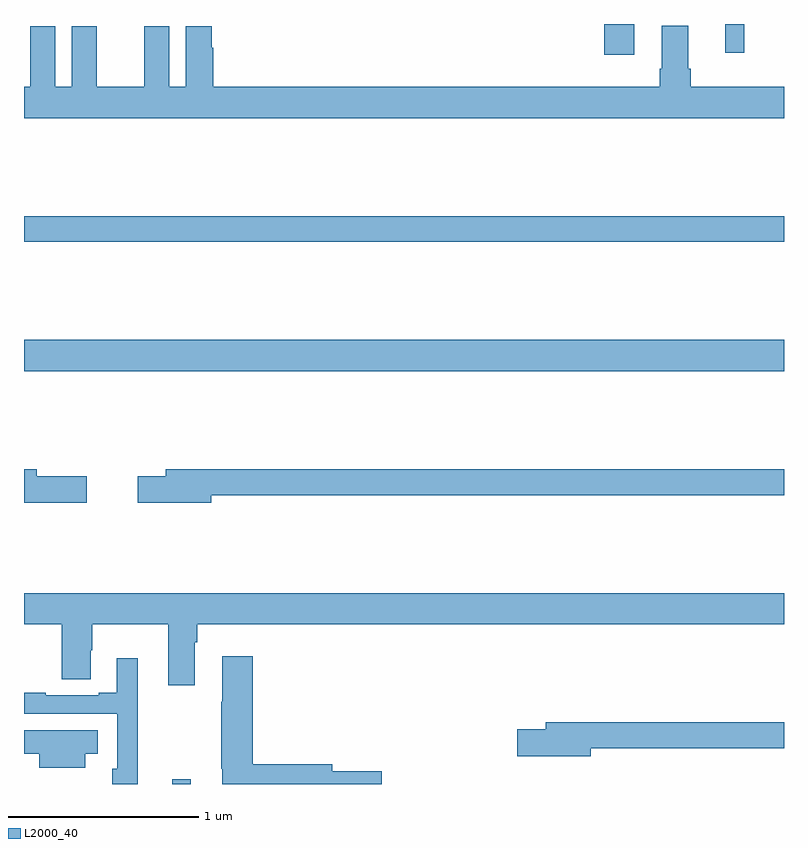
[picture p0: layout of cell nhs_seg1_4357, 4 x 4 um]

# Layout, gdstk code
import gdstk
lib = gdstk.Library(unit=1e-6, precision=1e-09)
def R(c, l, rs):  # rectangles x0, y0, x1, y1
    for r in rs: c.add(gdstk.rectangle(r[:2], r[2:], *l))
def P(c, l, *ps):  # polygons
    for p in ps: c.add(gdstk.Polygon(p, *l))
L2000_40 = (2000, 40)

nhs_seg1_4357 = lib.new_cell('nhs_seg1_4357')
R(nhs_seg1_4357, L2000_40, [(347.781,576.199,347.878,576.223), (347,578.372,351,578.536), (347,579.052,351,579.188), (350.054,580.038,350.212,580.199), (350.69,580.047,350.792,580.199)])
P(nhs_seg1_4357, L2000_40, [(351,579.868),(350.51,579.868),(350.51,579.964),(350.497,579.964),(350.497,580.189),(350.357,580.189),(350.357,579.964),(350.345,579.964),(350.345,579.868),(347.996,579.868),(347.996,580.073),(347.989,580.073),(347.989,580.186),(347.852,580.186),(347.852,579.868),(347.764,579.868),(347.764,580.186),(347.633,580.186),(347.633,579.868),(347.383,579.868),(347.383,580.186),(347.252,580.186),(347.252,579.868),(347.164,579.868),(347.164,580.186),(347.033,580.186),(347.033,579.868),(347,579.868),(347,579.704),(351,579.704)],
  [(347.329,577.82),(347.068,577.82),(347.068,577.856),(347,577.856),(347,577.678),(347.329,577.678)],
  [(347.986,577.72),(351,577.72),(351,577.856),(347.747,577.856),(347.747,577.82),(347.598,577.82),(347.598,577.678),(347.986,577.678)],
  [(347.899,576.944),(347.912,576.944),(347.912,577.04),(351,577.04),(351,577.204),(347,577.204),(347,577.04),(347.198,577.04),(347.198,576.751),(347.35,576.751),(347.35,576.902),(347.358,576.902),(347.358,577.04),(347.759,577.04),(347.759,576.72),(347.899,576.72)],
  [(348.883,576.266),(348.622,576.266),(348.622,576.302),(348.203,576.302),(348.203,576.871),(348.044,576.871),(348.044,576.632),(348.037,576.632),(348.037,576.279),(348.044,576.279),(348.044,576.199),(348.883,576.199)],
  [(347.599,576.862),(347.489,576.862),(347.489,576.679),(347.393,576.679),(347.393,576.666),(347.114,576.666),(347.114,576.679),(347,576.679),(347,576.57),(347.49,576.57),(347.49,576.279),(347.465,576.279),(347.465,576.199),(347.599,576.199)],
  [(349.984,576.388),(351,576.388),(351,576.524),(349.745,576.524),(349.745,576.488),(349.596,576.488),(349.596,576.346),(349.984,576.346)],
  [(347.323,576.359),(347.389,576.359),(347.389,576.481),(347,576.481),(347,576.359),(347.081,576.359),(347.081,576.284),(347.323,576.284)])

lib.write_gds('nhs_seg1_4357.gds')
